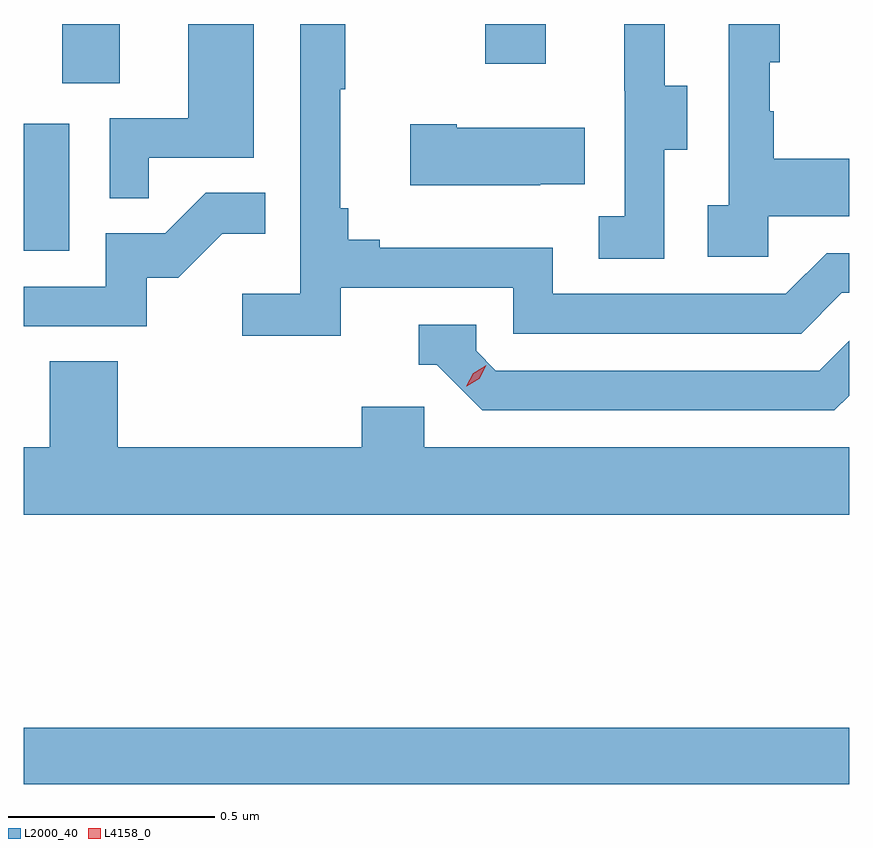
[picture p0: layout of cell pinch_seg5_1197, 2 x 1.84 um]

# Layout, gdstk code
import gdstk
lib = gdstk.Library(unit=1e-6, precision=1e-09)
def R(c, l, rs):  # rectangles x0, y0, x1, y1
    for r in rs: c.add(gdstk.rectangle(r[:2], r[2:], *l))
def P(c, l, *ps):  # polygons
    for p in ps: c.add(gdstk.Polygon(p, *l))
L2000_40 = (2000, 40)
L4158_0 = (4158, 0)

pinch_seg5_1197 = lib.new_cell('pinch_seg5_1197')
R(pinch_seg5_1197, L2000_40, [(840.476,846.784,842.476,846.92), (840.476,848.076,840.586,848.383), (840.569,848.482,840.709,848.625), (841.594,848.529,841.741,848.625)])
P(pinch_seg5_1197, L2000_40, [(842.028,848.32),(842.083,848.32),(842.083,848.475),(842.029,848.475),(842.029,848.625),(841.931,848.625),(841.931,848.463),(841.932,848.463),(841.932,848.159),(841.869,848.159),(841.869,848.056),(842.028,848.056)],
  [(841.244,847.986),(841.662,847.986),(841.662,847.875),(842.359,847.875),(842.458,847.974),(842.476,847.974),(842.476,848.07),(842.421,848.07),(842.322,847.971),(841.758,847.971),(841.758,848.083),(841.339,848.083),(841.339,848.102),(841.262,848.102),(841.262,848.179),(841.243,848.179),(841.243,848.467),(841.255,848.467),(841.255,848.625),(841.146,848.625),(841.146,847.972),(841.005,847.972),(841.005,847.87),(841.244,847.87)],
  [(842.28,848.159),(842.476,848.159),(842.476,848.299),(842.293,848.299),(842.293,848.414),(842.283,848.414),(842.283,848.532),(842.308,848.532),(842.308,848.625),(842.184,848.625),(842.184,848.186),(842.133,848.186),(842.133,848.061),(842.28,848.061)],
  [(840.779,848.301),(841.033,848.301),(841.033,848.625),(840.875,848.625),(840.875,848.397),(840.684,848.397),(840.684,848.203),(840.779,848.203)],
  [(841.727,848.237),(841.835,848.237),(841.835,848.374),(841.525,848.374),(841.525,848.382),(841.413,848.382),(841.413,848.234),(841.727,848.234)],
  [(840.774,848.01),(840.85,848.01),(840.957,848.117),(841.061,848.117),(841.061,848.216),(840.917,848.216),(840.819,848.118),(840.675,848.118),(840.675,847.989),(840.476,847.989),(840.476,847.893),(840.774,847.893)],
  [(842.476,847.725),(842.476,847.858),(842.403,847.785),(841.62,847.785),(841.572,847.833),(841.572,847.896),(841.433,847.896),(841.433,847.8),(841.476,847.8),(841.587,847.689),(842.44,847.689)],
  [(842.476,847.6),(841.446,847.6),(841.446,847.698),(841.295,847.698),(841.295,847.6),(840.704,847.6),(840.704,847.808),(840.539,847.808),(840.539,847.6),(840.476,847.6),(840.476,847.436),(842.476,847.436)])
P(pinch_seg5_1197, L4158_0, [(841.548,847.747),(841.548,847.747),(841.565,847.779),(841.597,847.798),(841.597,847.798),(841.597,847.798),(841.58,847.766),(841.549,847.747)])

lib.write_gds('pinch_seg5_1197.gds')
